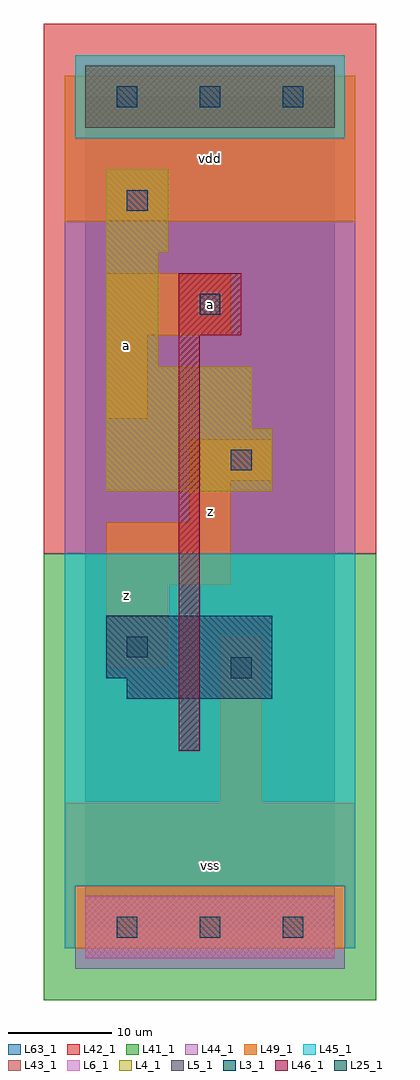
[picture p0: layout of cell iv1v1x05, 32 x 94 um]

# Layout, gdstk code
import gdstk
lib = gdstk.Library(unit=1e-6, precision=1e-09)
def R(c, l, rs):  # rectangles x0, y0, x1, y1
    for r in rs: c.add(gdstk.rectangle(r[:2], r[2:], *l))
def A(c, l, x, y, w, h, nx, ny, dx, dy):  # array of equal rectangles
    R(c, l, [(x+i*dx, y+j*dy, x+i*dx+w, y+j*dy+h) for i in range(nx) for j in range(ny)])
L3_1 = (3, 1)
L4_1 = (4, 1)
L5_1 = (5, 1)
L6_1 = (6, 1)
L25_1 = (25, 1)
L41_1 = (41, 1)
L42_1 = (42, 1)
L43_1 = (43, 1)
L44_1 = (44, 1)
L45_1 = (45, 1)
L46_1 = (46, 1)
L49_1 = (49, 1)
L63_1 = (63, 1)

iv1v1x05 = lib.new_cell('iv1v1x05')
R(iv1v1x05, L3_1, [(4,22,18,24), (2,24,18,30)])
R(iv1v1x05, L4_1, [(2,42,18,48), (2,48,16,54), (2,54,7,65), (2,65,8,73)])
R(iv1v1x05, L5_1, [(0,77,24,83)])
R(iv1v1x05, L6_1, [(0,-3,24,3), (0,-3,24,3)])
A(iv1v1x05, L25_1, 3, -1, 2, 2, 3, 2, 8, 80)
R(iv1v1x05, L25_1, [(14,24,16,26), (4,26,6,28), (14,44,16,46), (11,59,13,61), (4,69,6,71)])
R(iv1v1x05, L41_1, [(-4,-7,28,36)])
R(iv1v1x05, L42_1, [(-4,36,28,87)])
R(iv1v1x05, L43_1, [(0,-3,24,3), (4,22,18,24), (2,24,18,30), (2,42,18,48), (2,48,16,54), (2,54,7,65), (2,65,8,73), (0,77,24,83)])
R(iv1v1x05, L44_1, [(-1,-4,25,4), (-2,36,26,76), (-2,76,-1,82), (25,76,26,82)])
R(iv1v1x05, L45_1, [(-2,-2,-1,4), (25,-2,26,4), (-2,4,26,36), (-1,76,25,84)])
R(iv1v1x05, L46_1, [(9,17,11,57), (9,57,15,63)])
R(iv1v1x05, L49_1, [(-2,-2,26,12), (13,12,17,28), (2,25,8,33), (2,33,14,39), (10,39,14,43), (10,43,18,47), (2,49,6,57), (2,57,14,63), (-2,68,26,82)])
R(iv1v1x05, L63_1, [(0,0,24,80)])
iv1v1x05.add(gdstk.Label('z', (4,32), layer=49, texttype=1))
iv1v1x05.add(gdstk.Label('a', (4,56), layer=49, texttype=1))
iv1v1x05.add(gdstk.Label('vss', (12,6), layer=49, texttype=1))
iv1v1x05.add(gdstk.Label('z', (12,40), layer=49, texttype=1))
iv1v1x05.add(gdstk.Label('a', (12,60), layer=49, texttype=1))
iv1v1x05.add(gdstk.Label('vdd', (12,74), layer=49, texttype=1))

lib.write_gds('iv1v1x05.gds')
